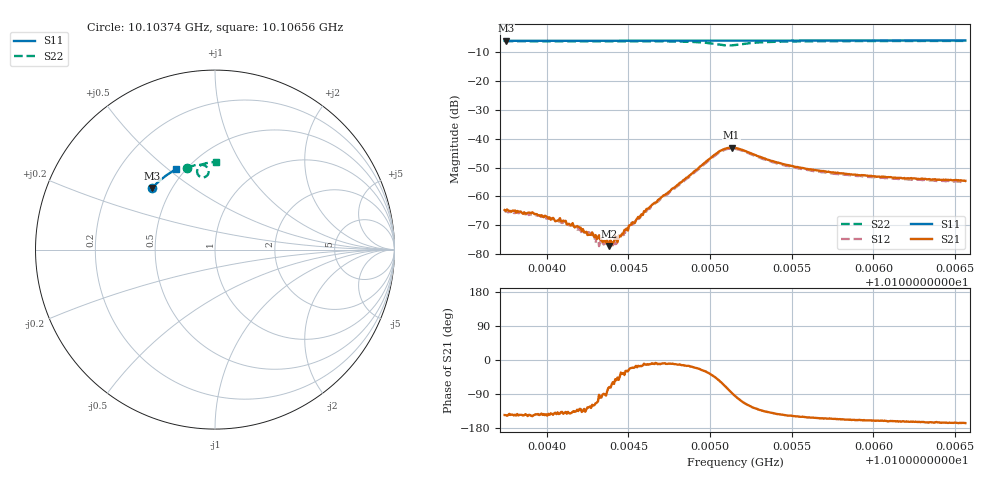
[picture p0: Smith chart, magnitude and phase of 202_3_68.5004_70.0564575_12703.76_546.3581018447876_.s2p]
#  HZ  S  RI  R  50.00
! Rohde & Schwarz Vector Network Analyzer
! Rohde-Schwarz,ZNB20-2Port,1311601062101988,3.16
! Created: UTC 3/20/2024, 5:12:48 PM
! freq[Hz]  re:S11  im:S11  re:S21  im:S21  re:S12  im:S12  re:S22  im:S22
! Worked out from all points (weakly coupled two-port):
!   401 points, 10.10374 GHz to 10.10656 GHz, reference 50 ohm
!   highest |S21| = -43.12 dB at 10.10513 GHz (marker M1); lowest = -77.1 dB at 10.10438 GHz (marker M2)
!   lowest |S11| = -6.2 dB at 10.10375 GHz (marker M3), VSWR 2.92, Z = 19.6 + j17.7 ohm
!   |S11| at or under -10 dB: nowhere
!   |S22| runs from -7.8 to -6.2 dB; largest |S21 - S12| = 0.00072
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1.0103742e10  -0.3496 0.3434  -0.000479 -0.000332  -0.000436 -0.000372  -0.1545 0.4569
1.0103749e10  -0.3492 0.3437  -0.000463 -0.000318  -0.000421 -0.000344  -0.1541 0.457
1.0103905e10  -0.3428 0.3508  -0.000428 -0.000275  -0.000376 -0.000299  -0.1439 0.4607
1.0104046e10  -0.3369 0.357  -0.000313 -0.000253  -0.000306 -0.000278  -0.1344 0.4638
1.0104095e10  -0.3348 0.3591  -0.00027 -0.000252  -0.000243 -0.000248  -0.1309 0.4648
1.0104158e10  -0.3321 0.3618  -0.000254 -0.000236  -0.000208 -0.000241  -0.1264 0.4661
1.0104215e10  -0.3295 0.3644  -0.000186 -0.000172  -0.00015 -0.000177  -0.1223 0.4673
1.0104271e10  -0.3273 0.3667  -0.00013 -0.000174  -8.39e-05 -0.000183  -0.1181 0.4685
1.0104335e10  -0.3245 0.3695  -2.8e-05 -0.000177  -2.15e-06 -0.000147  -0.1134 0.4695
1.0104384e10  -0.3223 0.3714  4.46e-05 -0.000132  4.57e-05 -0.000148  -0.1095 0.4704
1.0104398e10  -0.3216 0.3721  6.26e-05 -0.000128  8.22e-05 -0.00013  -0.1082 0.4707
1.0104433e10  -0.32 0.3735  0.000112 -0.000117  0.000127 -0.000116  -0.1054 0.4712
1.0104532e10  -0.3156 0.3776  0.00033 -0.000124  0.000334 -4.96e-05  -0.097 0.4726
1.0104687e10  -0.3085 0.3838  0.000882 -0.000154  0.000845 -6.93e-05  -0.0814 0.4733
1.0105033e10  -0.2923 0.3971  0.00373 -0.00387  0.00393 -0.00337  -0.0354 0.4299
1.0105082e10  -0.2901 0.3988  0.00274 -0.00593  0.00321 -0.00539  -0.047 0.4096
1.0105131e10  -0.2877 0.4005  0.000447 -0.00697  0.00109 -0.00665  -0.0722 0.4026
1.0105153e10  -0.2868 0.4014  -0.000579 -0.00687  8.63e-05 -0.00667  -0.0826 0.406
1.0105392e10  -0.2756 0.4103  -0.00311 -0.00253  -0.00278 -0.0027  -0.0872 0.4633
1.0105625e10  -0.264 0.4186  -0.00257 -0.00136  -0.00232 -0.00153  -0.0639 0.477
1.0106097e10  -0.24 0.4341  -0.00204 -0.00069  -0.00187 -0.000836  -0.0265 0.4854
1.0106563e10  -0.2155 0.4481  -0.00181 -0.000438  -0.00171 -0.000569  0.00592 0.4882
